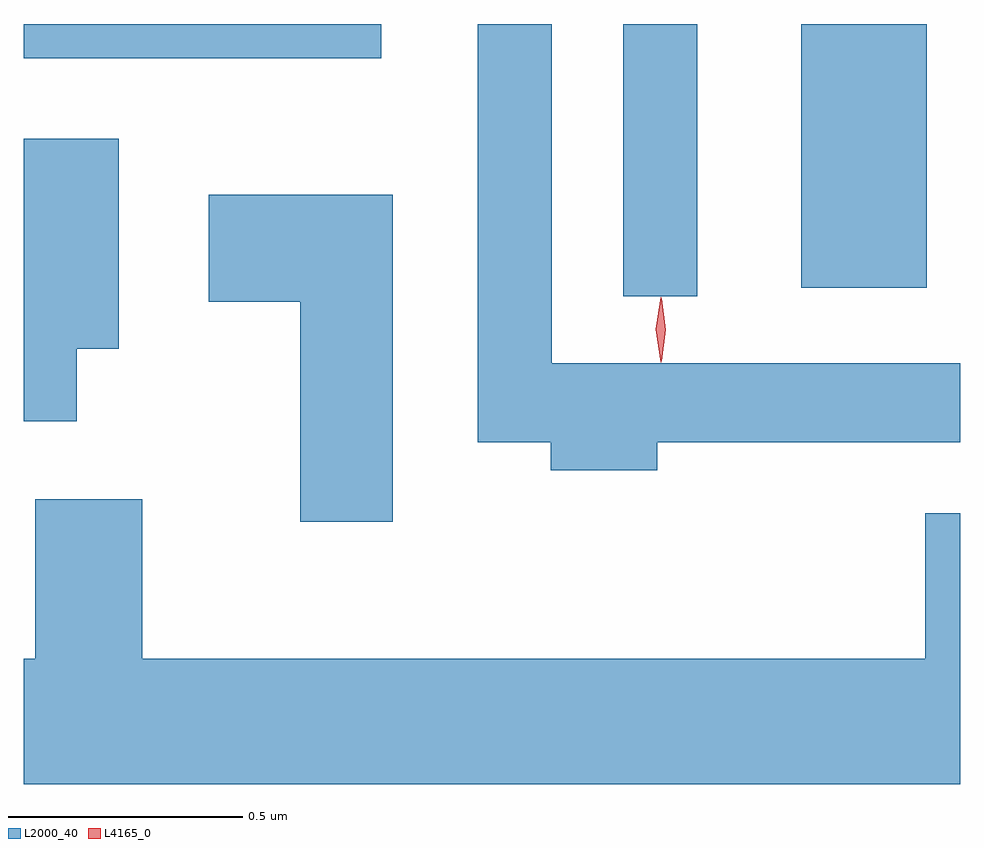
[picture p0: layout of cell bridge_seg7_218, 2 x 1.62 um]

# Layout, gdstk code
import gdstk
lib = gdstk.Library(unit=1e-6, precision=1e-09)
def R(c, l, rs):  # rectangles x0, y0, x1, y1
    for r in rs: c.add(gdstk.rectangle(r[:2], r[2:], *l))
def P(c, l, *ps):  # polygons
    for p in ps: c.add(gdstk.Polygon(p, *l))
L2000_40 = (2000, 40)
L4165_0 = (4165, 0)

bridge_seg7_218 = lib.new_cell('bridge_seg7_218')
R(bridge_seg7_218, L2000_40, [(1482.866,1722.018,1483.024,1722.599), (1483.246,1722.036,1483.514,1722.599), (1481.586,1722.526,1482.349,1722.599)])
P(bridge_seg7_218, L2000_40, [(1482.939,1721.706),(1483.586,1721.706),(1483.586,1721.874),(1482.714,1721.874),(1482.714,1722.599),(1482.556,1722.599),(1482.556,1721.706),(1482.711,1721.706),(1482.711,1721.646),(1482.939,1721.646)],
  [(1481.699,1721.906),(1481.789,1721.906),(1481.789,1722.354),(1481.586,1722.354),(1481.586,1721.751),(1481.699,1721.751)],
  [(1482.374,1722.234),(1481.981,1722.234),(1481.981,1722.006),(1482.176,1722.006),(1482.176,1721.536),(1482.374,1721.536)],
  [(1483.586,1721.554),(1483.511,1721.554),(1483.511,1721.244),(1481.839,1721.244),(1481.839,1721.584),(1481.611,1721.584),(1481.611,1721.244),(1481.586,1721.244),(1481.586,1720.976),(1483.586,1720.976)])
P(bridge_seg7_218, L4165_0, [(1482.946,1721.877),(1482.946,1721.877),(1482.936,1721.947),(1482.946,1722.016),(1482.946,1722.016),(1482.947,1722.016),(1482.956,1721.947),(1482.947,1721.877)],
  [(1482.947,1721.879),(1482.947,1721.88),(1482.937,1721.946),(1482.947,1722.012),(1482.947,1722.013),(1482.948,1722.012),(1482.957,1721.946),(1482.948,1721.88)])

lib.write_gds('bridge_seg7_218.gds')
